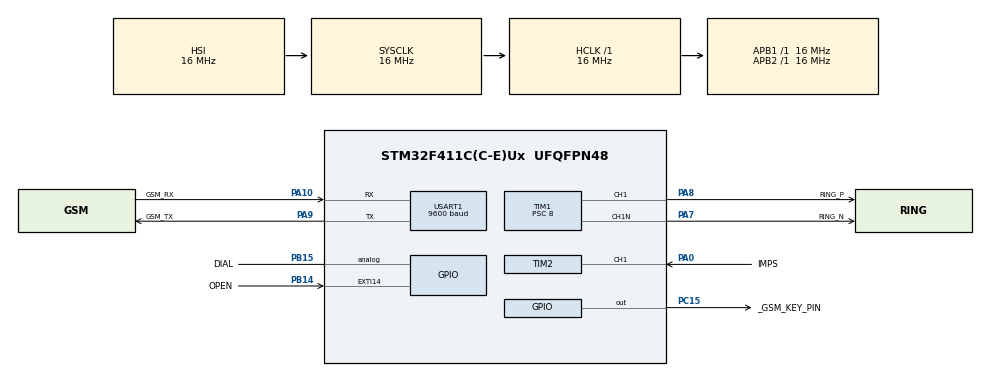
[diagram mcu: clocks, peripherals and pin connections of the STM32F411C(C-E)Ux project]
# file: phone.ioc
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Mcu.Family=STM32F4
Mcu.Name=STM32F411C(C-E)Ux
Mcu.Package=UFQFPN48
NVIC.EXTI15_10_IRQn=true\:10\:0\:true\:false\:true\:true\:true\:true
NVIC.PriorityGroup=NVIC_PRIORITYGROUP_4
NVIC.TIM2_IRQn=true\:2\:0\:true\:false\:true\:true\:true\:true
NVIC.TIM3_IRQn=true\:3\:0\:true\:false\:true\:true\:true\:true
NVIC.TIM4_IRQn=true\:0\:0\:false\:false\:true\:true\:true\:true
NVIC.USART1_IRQn=true\:4\:0\:true\:false\:true\:true\:true\:true
PA0-WKUP.GPIO_Label=IMPS
PA0-WKUP.GPIO_PuPd=GPIO_PULLUP
PA0-WKUP.Signal=S_TIM2_CH1_ETR
PA10.GPIO_Label=GSM_RX
PA10.Mode=Asynchronous
PA10.Signal=USART1_RX
PA13.Mode=Serial_Wire
PA13.Signal=SYS_JTMS-SWDIO
PA14.Mode=Serial_Wire
PA14.Signal=SYS_JTCK-SWCLK
PA7.GPIO_Label=RING_N
PA7.Mode=PWM Generation1 CH1 CH1N
PA7.Signal=TIM1_CH1N
PA8.GPIO_Label=RING_P
PA8.Signal=S_TIM1_CH1
PA9.GPIO_Label=GSM_TX
PA9.Mode=Asynchronous
PA9.Signal=USART1_TX
PB14.GPIO_Label=OPEN
PB14.GPIO_ModeDefaultEXTI=GPIO_MODE_IT_RISING_FALLING
PB14.GPIO_PuPd=GPIO_PULLUP
PB14.Signal=GPXTI14
PB15.GPIO_Label=DIAL
PB15.Signal=GPIO_Analog
PC15-OSC32_OUT.GPIO_Label=_GSM_KEY_PIN
PC15-OSC32_OUT.Signal=GPIO_Output
ProjectManager.HeapSize=0x2000
ProjectManager.StackSize=0x1000
ProjectManager.TargetToolchain=Makefile
RCC.AHBFreq_Value=16000000
RCC.APB1Freq_Value=16000000
RCC.APB2Freq_Value=16000000
RCC.CortexFreq_Value=16000000
RCC.HSE_VALUE=25000000
RCC.HSI_VALUE=16000000
RCC.LSE_VALUE=32768
RCC.SYSCLKFreq_VALUE=16000000
RCC.VCOOutputFreq_Value=192000000
SH.S_TIM1_CH1.0=TIM1_CH1,PWM Generation1 CH1 CH1N
SH.S_TIM2_CH1_ETR.0=TIM2_CH1,Input_Capture1_from_TI1
TIM1.AutoReloadPreload=TIM_AUTORELOAD_PRELOAD_ENABLE
TIM1.Channel-PWM\ Generation1\ CH1\ CH1N=TIM_CHANNEL_1
TIM1.ClockDivision=TIM_CLOCKDIVISION_DIV4
TIM1.DeadTime=1
TIM1.OCNPolarity_1=TIM_OCNPOLARITY_HIGH
TIM1.Prescaler=8
TIM2.AutoReloadPreload=TIM_AUTORELOAD_PRELOAD_ENABLE
TIM2.Channel-Input_Capture1_from_TI1=TIM_CHANNEL_1
TIM2.ICPolarity_CH1=TIM_INPUTCHANNELPOLARITY_RISING
TIM3.AutoReloadPreload=TIM_AUTORELOAD_PRELOAD_DISABLE
TIM3.Channel-Output\ Compare1\ No\ Output=TIM_CHANNEL_1
TIM3.Channel-Output\ Compare2\ No\ Output=TIM_CHANNEL_2
TIM3.OC1Preload=ENABLE
TIM3.Prescaler=732
TIM3.Pulse-Output\ Compare1\ No\ Output=4369
TIM3.Pulse-Output\ Compare2\ No\ Output=21845
TIM4.Prescaler=244
USART1.BaudRate=9600
USART1.VirtualMode=VM_ASYNC
VP_TIM3_VS_no_output1.Mode=Output Compare1 No Output
VP_TIM3_VS_no_output2.Mode=Output Compare2 No Output
VP_TIM4_VS_OPM.Mode=OPM_bit
board=custom

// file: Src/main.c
/* USER CODE BEGIN Header */
/**
 ******************************************************************************
 * @file           : main.c
 * @brief          : Main program body
 ******************************************************************************
 * @attention
 *
 * Copyright (c) 2023 STMicroelectronics.
 * All rights reserved.
 *
 * This software is licensed under terms that can be found in the LICENSE file
 * in the root directory of this software component.
 * If no LICENSE file comes with this software, it is provided AS-IS.
 *
 ******************************************************************************
 */
/* USER CODE END Header */
#include "main.h"

/* USER CODE BEGIN Includes */
#include "SEGGER_RTT.h"
#include "gsm.h"
/* USER CODE END Includes */

TIM_HandleTypeDef htim1;
TIM_HandleTypeDef htim2;
TIM_HandleTypeDef htim3;
TIM_HandleTypeDef htim4;

/* USER CODE BEGIN PV */
uint8_t Number_len = 0;
uint8_t w_state = 0;
bool up_phone, call;
static uint8_t digit = 0;
static uint8_t number[20];
static uint8_t *last_digit = number;
/* USER CODE END PV */

void SystemClock_Config(void);
static void MX_GPIO_Init(void);
static void MX_TIM2_Init(void);
static void MX_USART1_UART_Init(void);
static void MX_TIM3_Init(void);
static void MX_TIM1_Init(void);
static void MX_TIM4_Init(void);
/* USER CODE BEGIN PFP */
static void Dial_IRQHandler(TIM_HandleTypeDef *htim);
static void Digit_Timeout_IRQHandler(TIM_HandleTypeDef *htim);
static void Dial_Timeout_IRQHandler(TIM_HandleTypeDef *htim);
static void Ring_Off_IRQHandler(TIM_HandleTypeDef *htim);
/* USER CODE END PFP */

/* USER CODE BEGIN 0 */
static uint8_t buffer[32767] = "\0";
/* USER CODE END 0 */

int main(void)
{
  /* USER CODE BEGIN 1 */
  SEGGER_RTT_ConfigUpBuffer(0, NULL, buffer, sizeof(buffer), SEGGER_RTT_MODE_NO_BLOCK_SKIP);
  // shrek(0);
  SEGGER_RTT_WriteString(0, RTT_CTRL_TEXT_GREEN
#include "shrek.txt"
                                RTT_CTRL_RESET);
  SEGGER_RTT_WriteString(0, RTT_CTRL_TEXT_BRIGHT_GREEN "TELEPHONK started!\r\n\r\n" RTT_CTRL_RESET);
  /* USER CODE END 1 */

  /* MCU Configuration--------------------------------------------------------*/

  /* Reset of all peripherals, Initializes the Flash interface and the Systick. */
  HAL_Init();

  /* Configure the system clock */
  SystemClock_Config();

  /* Initialize all configured peripherals */
  MX_GPIO_Init();
  MX_TIM2_Init();
  MX_USART1_UART_Init();
  MX_TIM3_Init();
  MX_TIM1_Init();
  MX_TIM4_Init();
  /* USER CODE BEGIN 2 */
  up_phone = HAL_GPIO_ReadPin(OPEN_GPIO_Port, OPEN_Pin) == GPIO_PIN_SET;
  gsm_init();
  gsm_power(true);
  gsm_waitForRegister(30);
  /* USER CODE END 2 */

  /* Infinite loop */
  while (1)
  {

    /* USER CODE BEGIN 3 */
    gsm_loop();

    if (Number_len > 0 && Number_len < 32)
    {
      char num_string[32];
      uint8_t i = 0, k = 0;
      if (number[0] == 8 && Number_len == 11)
      {
        num_string[0] = '+';
        num_string[1] = '7';
        i = 2;
        k = 1;
      }
      for (; k < Number_len; k++, i++)
      {
        num_string[i] = number[k] + 0x30;
      }
      num_string[i] = '\0';
      if (up_phone)
      {
        gsm_call_dial(num_string, 20);
        call = true;
      }
      else
      {
        SEGGER_RTT_printf(0, "Handset is not up. Ignore number.\r\n");
      }
    }
    Number_len = 0;
  }

  /* USER CODE END 3 */
}

void SystemClock_Config(void)
{
  RCC_OscInitTypeDef RCC_OscInitStruct = {0};
  RCC_ClkInitTypeDef RCC_ClkInitStruct = {0};

  /** Configure the main internal regulator output voltage
   */
  __HAL_RCC_PWR_CLK_ENABLE();
  __HAL_PWR_VOLTAGESCALING_CONFIG(PWR_REGULATOR_VOLTAGE_SCALE1);

  /** Initializes the RCC Oscillators according to the specified parameters
   * in the RCC_OscInitTypeDef structure.
   */
  RCC_OscInitStruct.OscillatorType = RCC_OSCILLATORTYPE_HSI;
  RCC_OscInitStruct.HSIState = RCC_HSI_ON;
  RCC_OscInitStruct.HSICalibrationValue = RCC_HSICALIBRATION_DEFAULT;
  RCC_OscInitStruct.PLL.PLLState = RCC_PLL_NONE;
  if (HAL_RCC_OscConfig(&RCC_OscInitStruct) != HAL_OK)
  {
    Error_Handler();
  }

  /** Initializes the CPU, AHB and APB buses clocks
   */
  RCC_ClkInitStruct.ClockType = RCC_CLOCKTYPE_HCLK | RCC_CLOCKTYPE_SYSCLK | RCC_CLOCKTYPE_PCLK1 | RCC_CLOCKTYPE_PCLK2;
  RCC_ClkInitStruct.SYSCLKSource = RCC_SYSCLKSOURCE_HSI;
  RCC_ClkInitStruct.AHBCLKDivider = RCC_SYSCLK_DIV1;
  RCC_ClkInitStruct.APB1CLKDivider = RCC_HCLK_DIV1;
  RCC_ClkInitStruct.APB2CLKDivider = RCC_HCLK_DIV1;

  if (HAL_RCC_ClockConfig(&RCC_ClkInitStruct, FLASH_LATENCY_0) != HAL_OK)
  {
    Error_Handler();
  }
}

static void MX_TIM1_Init(void)
{

  TIM_MasterConfigTypeDef sMasterConfig = {0};
  TIM_OC_InitTypeDef sConfigOC = {0};
  TIM_BreakDeadTimeConfigTypeDef sBreakDeadTimeConfig = {0};

  htim1.Instance = TIM1;
  htim1.Init.Prescaler = 8;
  htim1.Init.CounterMode = TIM_COUNTERMODE_UP;
  htim1.Init.Period = 65535;
  htim1.Init.ClockDivision = TIM_CLOCKDIVISION_DIV4;
  htim1.Init.RepetitionCounter = 0;
  htim1.Init.AutoReloadPreload = TIM_AUTORELOAD_PRELOAD_ENABLE;
  if (HAL_TIM_PWM_Init(&htim1) != HAL_OK)
  {
    Error_Handler();
  }
  sMasterConfig.MasterOutputTrigger = TIM_TRGO_RESET;
  sMasterConfig.MasterSlaveMode = TIM_MASTERSLAVEMODE_DISABLE;
  if (HAL_TIMEx_MasterConfigSynchronization(&htim1, &sMasterConfig) != HAL_OK)
  {
    Error_Handler();
  }
  sConfigOC.OCMode = TIM_OCMODE_PWM1;
  sConfigOC.Pulse = 0;
  sConfigOC.OCPolarity = TIM_OCPOLARITY_HIGH;
  sConfigOC.OCNPolarity = TIM_OCNPOLARITY_HIGH;
  sConfigOC.OCFastMode = TIM_OCFAST_DISABLE;
  sConfigOC.OCIdleState = TIM_OCIDLESTATE_RESET;
  sConfigOC.OCNIdleState = TIM_OCNIDLESTATE_RESET;
  if (HAL_TIM_PWM_ConfigChannel(&htim1, &sConfigOC, TIM_CHANNEL_1) != HAL_OK)
  {
    Error_Handler();
  }
  sBreakDeadTimeConfig.OffStateRunMode = TIM_OSSR_DISABLE;
  sBreakDeadTimeConfig.OffStateIDLEMode = TIM_OSSI_DISABLE;
  sBreakDeadTimeConfig.LockLevel = TIM_LOCKLEVEL_OFF;
  sBreakDeadTimeConfig.DeadTime = 1;
  sBreakDeadTimeConfig.BreakState = TIM_BREAK_DISABLE;
  sBreakDeadTimeConfig.BreakPolarity = TIM_BREAKPOLARITY_HIGH;
  sBreakDeadTimeConfig.AutomaticOutput = TIM_AUTOMATICOUTPUT_DISABLE;
  if (HAL_TIMEx_ConfigBreakDeadTime(&htim1, &sBreakDeadTimeConfig) != HAL_OK)
  {
    Error_Handler();
  }
  /* USER CODE BEGIN TIM1_Init 2 */
  htim1.Instance->CCR1 = 0xFFFF / 2;
  /* USER CODE END TIM1_Init 2 */
  HAL_TIM_MspPostInit(&htim1);
}

static void MX_TIM2_Init(void)
{

  TIM_MasterConfigTypeDef sMasterConfig = {0};
  TIM_IC_InitTypeDef sConfigIC = {0};

  htim2.Instance = TIM2;
  htim2.Init.Prescaler = 0;
  htim2.Init.CounterMode = TIM_COUNTERMODE_UP;
  htim2.Init.Period = 4294967295;
  htim2.Init.ClockDivision = TIM_CLOCKDIVISION_DIV1;
  htim2.Init.AutoReloadPreload = TIM_AUTORELOAD_PRELOAD_ENABLE;
  if (HAL_TIM_IC_Init(&htim2) != HAL_OK)
  {
    Error_Handler();
  }
  sMasterConfig.MasterOutputTrigger = TIM_TRGO_RESET;
  sMasterConfig.MasterSlaveMode = TIM_MASTERSLAVEMODE_DISABLE;
  if (HAL_TIMEx_MasterConfigSynchronization(&htim2, &sMasterConfig) != HAL_OK)
  {
    Error_Handler();
  }
  sConfigIC.ICPolarity = TIM_INPUTCHANNELPOLARITY_RISING;
  sConfigIC.ICSelection = TIM_ICSELECTION_DIRECTTI;
  sConfigIC.ICPrescaler = TIM_ICPSC_DIV1;
  sConfigIC.ICFilter = 0;
  if (HAL_TIM_IC_ConfigChannel(&htim2, &sConfigIC, TIM_CHANNEL_1) != HAL_OK)
  {
    Error_Handler();
  }
  /* USER CODE BEGIN TIM2_Init 2 */
  HAL_TIM_RegisterCallback(&htim2, HAL_TIM_IC_CAPTURE_CB_ID, Dial_IRQHandler);
  HAL_TIM_Base_Start(&htim2);
  HAL_TIM_IC_Start_IT(&htim2, TIM_CHANNEL_1);
  /* USER CODE END TIM2_Init 2 */
}

static void MX_TIM3_Init(void)
{

  TIM_MasterConfigTypeDef sMasterConfig = {0};
  TIM_OC_InitTypeDef sConfigOC = {0};

  htim3.Instance = TIM3;
  htim3.Init.Prescaler = 732;
  htim3.Init.CounterMode = TIM_COUNTERMODE_UP;
  htim3.Init.Period = 65535;
  htim3.Init.ClockDivision = TIM_CLOCKDIVISION_DIV1;
  htim3.Init.AutoReloadPreload = TIM_AUTORELOAD_PRELOAD_DISABLE;
  if (HAL_TIM_OC_Init(&htim3) != HAL_OK)
  {
    Error_Handler();
  }
  sMasterConfig.MasterOutputTrigger = TIM_TRGO_RESET;
  sMasterConfig.MasterSlaveMode = TIM_MASTERSLAVEMODE_DISABLE;
  if (HAL_TIMEx_MasterConfigSynchronization(&htim3, &sMasterConfig) != HAL_OK)
  {
    Error_Handler();
  }
  sConfigOC.OCMode = TIM_OCMODE_TIMING;
  sConfigOC.Pulse = 4369;
  sConfigOC.OCPolarity = TIM_OCPOLARITY_HIGH;
  sConfigOC.OCFastMode = TIM_OCFAST_DISABLE;
  if (HAL_TIM_OC_ConfigChannel(&htim3, &sConfigOC, TIM_CHANNEL_1) != HAL_OK)
  {
    Error_Handler();
  }
  __HAL_TIM_ENABLE_OCxPRELOAD(&htim3, TIM_CHANNEL_1);
  sConfigOC.Pulse = 21845;
  if (HAL_TIM_OC_ConfigChannel(&htim3, &sConfigOC, TIM_CHANNEL_2) != HAL_OK)
  {
    Error_Handler();
  }
  /* USER CODE BEGIN TIM3_Init 2 */
  HAL_TIM_RegisterCallback(&htim3, HAL_TIM_OC_DELAY_ELAPSED_CB_ID, Digit_Timeout_IRQHandler);
  HAL_TIM_RegisterCallback(&htim3, HAL_TIM_PERIOD_ELAPSED_CB_ID, Dial_Timeout_IRQHandler);
  __HAL_TIM_SET_COUNTER(&htim3, 0x0);
  /* USER CODE END TIM3_Init 2 */
}

static void MX_TIM4_Init(void)
{

  TIM_MasterConfigTypeDef sMasterConfig = {0};

  htim4.Instance = TIM4;
  htim4.Init.Prescaler = 244;
  htim4.Init.CounterMode = TIM_COUNTERMODE_UP;
  htim4.Init.Period = 65535;
  htim4.Init.ClockDivision = TIM_CLOCKDIVISION_DIV1;
  htim4.Init.AutoReloadPreload = TIM_AUTORELOAD_PRELOAD_DISABLE;
  if (HAL_TIM_OnePulse_Init(&htim4, TIM_OPMODE_SINGLE) != HAL_OK)
  {
    Error_Handler();
  }
  sMasterConfig.MasterOutputTrigger = TIM_TRGO_RESET;
  sMasterConfig.MasterSlaveMode = TIM_MASTERSLAVEMODE_DISABLE;
  if (HAL_TIMEx_MasterConfigSynchronization(&htim4, &sMasterConfig) != HAL_OK)
  {
    Error_Handler();
  }
  /* USER CODE BEGIN TIM4_Init 2 */
  HAL_TIM_RegisterCallback(&htim4, HAL_TIM_PERIOD_ELAPSED_CB_ID, Ring_Off_IRQHandler);
  /* USER CODE END TIM4_Init 2 */
}

static void MX_USART1_UART_Init(void)
{

  LL_USART_InitTypeDef USART_InitStruct = {0};

  LL_GPIO_InitTypeDef GPIO_InitStruct = {0};

  /* Peripheral clock enable */
  LL_APB2_GRP1_EnableClock(LL_APB2_GRP1_PERIPH_USART1);

  LL_AHB1_GRP1_EnableClock(LL_AHB1_GRP1_PERIPH_GPIOA);
  /**USART1 GPIO Configuration
  PA9   ------> USART1_TX
  PA10   ------> USART1_RX
  */
  GPIO_InitStruct.Pin = LL_GPIO_PIN_9 | LL_GPIO_PIN_10;
  GPIO_InitStruct.Mode = LL_GPIO_MODE_ALTERNATE;
  GPIO_InitStruct.Speed = LL_GPIO_SPEED_FREQ_VERY_HIGH;
  GPIO_InitStruct.OutputType = LL_GPIO_OUTPUT_PUSHPULL;
  GPIO_InitStruct.Pull = LL_GPIO_PULL_NO;
  GPIO_InitStruct.Alternate = LL_GPIO_AF_7;
  LL_GPIO_Init(GPIOA, &GPIO_InitStruct);

  /* USART1 interrupt Init */
  NVIC_SetPriority(USART1_IRQn, NVIC_EncodePriority(NVIC_GetPriorityGrouping(), 4, 0));
  NVIC_EnableIRQ(USART1_IRQn);

  USART_InitStruct.BaudRate = 9600;
  USART_InitStruct.DataWidth = LL_USART_DATAWIDTH_8B;
  USART_InitStruct.StopBits = LL_USART_STOPBITS_1;
  USART_InitStruct.Parity = LL_USART_PARITY_NONE;
  USART_InitStruct.TransferDirection = LL_USART_DIRECTION_TX_RX;
  USART_InitStruct.HardwareFlowControl = LL_USART_HWCONTROL_NONE;
  USART_InitStruct.OverSampling = LL_USART_OVERSAMPLING_16;
  LL_USART_Init(USART1, &USART_InitStruct);
  LL_USART_ConfigAsyncMode(USART1);
  LL_USART_Enable(USART1);
}

static void MX_GPIO_Init(void)
{
  GPIO_InitTypeDef GPIO_InitStruct = {0};

  /* GPIO Ports Clock Enable */
  __HAL_RCC_GPIOC_CLK_ENABLE();
  __HAL_RCC_GPIOA_CLK_ENABLE();
  __HAL_RCC_GPIOB_CLK_ENABLE();

  /*Configure GPIO pin Output Level */
  HAL_GPIO_WritePin(_GSM_KEY_PIN_GPIO_Port, _GSM_KEY_PIN_Pin, GPIO_PIN_RESET);

  /*Configure GPIO pin : _GSM_KEY_PIN_Pin */
  GPIO_InitStruct.Pin = _GSM_KEY_PIN_Pin;
  GPIO_InitStruct.Mode = GPIO_MODE_OUTPUT_PP;
  GPIO_InitStruct.Pull = GPIO_NOPULL;
  GPIO_InitStruct.Speed = GPIO_SPEED_FREQ_LOW;
  HAL_GPIO_Init(_GSM_KEY_PIN_GPIO_Port, &GPIO_InitStruct);

  /*Configure GPIO pin : OPEN_Pin */
  GPIO_InitStruct.Pin = OPEN_Pin;
  GPIO_InitStruct.Mode = GPIO_MODE_IT_RISING_FALLING;
  GPIO_InitStruct.Pull = GPIO_PULLUP;
  HAL_GPIO_Init(OPEN_GPIO_Port, &GPIO_InitStruct);

  /*Configure GPIO pin : DIAL_Pin */
  GPIO_InitStruct.Pin = DIAL_Pin;
  GPIO_InitStruct.Mode = GPIO_MODE_ANALOG;
  GPIO_InitStruct.Pull = GPIO_NOPULL;
  HAL_GPIO_Init(DIAL_GPIO_Port, &GPIO_InitStruct);

  /* EXTI interrupt init*/
  HAL_NVIC_SetPriority(EXTI15_10_IRQn, 10, 0);
  HAL_NVIC_EnableIRQ(EXTI15_10_IRQn);

}

/* USER CODE BEGIN 4 */

/**
 * @brief Enable ring for 1 second. Auto disable.
 *
 */
void Enable_Ring(void)
{
  SEGGER_RTT_WriteString(0, "Ring on\r\n");
  HAL_TIM_PWM_Start(&htim1, TIM_CHANNEL_1);
  HAL_TIMEx_PWMN_Start(&htim1, TIM_CHANNEL_1);
  __HAL_TIM_SET_COUNTER(&htim4, 1);
  __HAL_TIM_CLEAR_IT(&htim4, TIM_IT_UPDATE);
  HAL_TIM_Base_Start_IT(&htim4);
}

/**
 * @brief Disable ring.
 *
 */
void Disable_Ring(void)
{
  SEGGER_RTT_WriteString(0, "Ring off\r\n");
  HAL_TIM_PWM_Stop(&htim1, TIM_CHANNEL_1);
  HAL_TIMEx_PWMN_Stop(&htim1, TIM_CHANNEL_1);
  HAL_TIM_Base_Stop_IT(&htim4);
}

void Up_Phone(void)
{
  up_phone = true;
  SEGGER_RTT_WriteString(0, "Headset is raised\r\n");
  // if (htim1.Instance->CCER & TIM_CCER_CCxE_MASK)
  // {
  Disable_Ring();
  // }
  if (call)
  {
    gsm_call_answer();
  }
}

void Down_Phone(void)
{
  up_phone = false;
  SEGGER_RTT_WriteString(0, "Headset is hung up\r\n");
  if (call)
  {
    if (gsm_call_end())
    {
      call = false;
    }
  }
}

void HAL_GPIO_EXTI_Callback(uint16_t GPIO_Pin)
{
  UNUSED(GPIO_Pin);
  if (HAL_GPIO_ReadPin(OPEN_GPIO_Port, OPEN_Pin) == GPIO_PIN_SET)
  {
    Up_Phone();
  }
  else
  {
    Down_Phone();
  }
}

void gsm_callback_newCall(const char *number)
{
  gsm_printf("NEW CALL FROM: %s\r\n", number);
  Enable_Ring();
  call = true;
}

void gsm_callback_endCall(void)
{
  gsm_printf("END CALL\r\n");
  Disable_Ring();
  call = false;
}

static void Dial_IRQHandler(TIM_HandleTypeDef *htim)
{
  UNUSED(htim);
  static uint32_t last_tick;
  uint32_t current_tick = __HAL_TIM_GET_COMPARE(&htim2, TIM_CHANNEL_1);
  uint32_t period = current_tick - last_tick;
  if (period > 1200000)
  {
    last_tick = current_tick;
    digit++;
  }
  __HAL_TIM_SET_COUNTER(&htim3, 1);
  __HAL_TIM_CLEAR_IT(&htim3, TIM_IT_UPDATE);
  __HAL_TIM_CLEAR_IT(&htim3, TIM_IT_CC1);
  HAL_TIM_Base_Start_IT(&htim3);
  HAL_TIM_OC_Start_IT(&htim3, TIM_CHANNEL_1);
}

static void Digit_Timeout_IRQHandler(TIM_HandleTypeDef *htim)
{
  UNUSED(htim);
  if (digit == 10)
  {
    digit = 0;
  }
  SEGGER_RTT_printf(0, "Digit %u\r\n", digit);
  *last_digit++ = digit;
  digit = 0;
}

static void Dial_Timeout_IRQHandler(TIM_HandleTypeDef *htim)
{
  UNUSED(htim);
  SEGGER_RTT_WriteString(0, "Number is ");

  for (; &number[Number_len] != last_digit; Number_len++)
  {
    SEGGER_RTT_printf(0, "%u", number[Number_len]);
  }
  SEGGER_RTT_WriteString(0, "\r\n");

  last_digit = number;

  HAL_TIM_Base_Stop_IT(&htim3);
  HAL_TIM_OC_Stop_IT(&htim3, TIM_CHANNEL_1);

  // b_Number=1;
}

static void Ring_Off_IRQHandler(TIM_HandleTypeDef *htim)
{
  UNUSED(htim);
  Disable_Ring();
}

/* USER CODE END 4 */

void Error_Handler(void)
{
  __disable_irq();
  while (1)
  {
  }
}

#ifdef USE_FULL_ASSERT
/**
 * @brief  Reports the name of the source file and the source line number
 *         where the assert_param error has occurred.
 * @param  file: pointer to the source file name
 * @param  line: assert_param error line source number
 * @retval None
 */
void assert_failed(uint8_t *file, uint32_t line)
{
  /* USER CODE BEGIN 6 */
  /* User can add his own implementation to report the file name and line
     number, ex: printf("Wrong parameters value: file %s on line %d\r\n", file,
     line) */
  /* USER CODE END 6 */
}
#endif /* USE_FULL_ASSERT */
